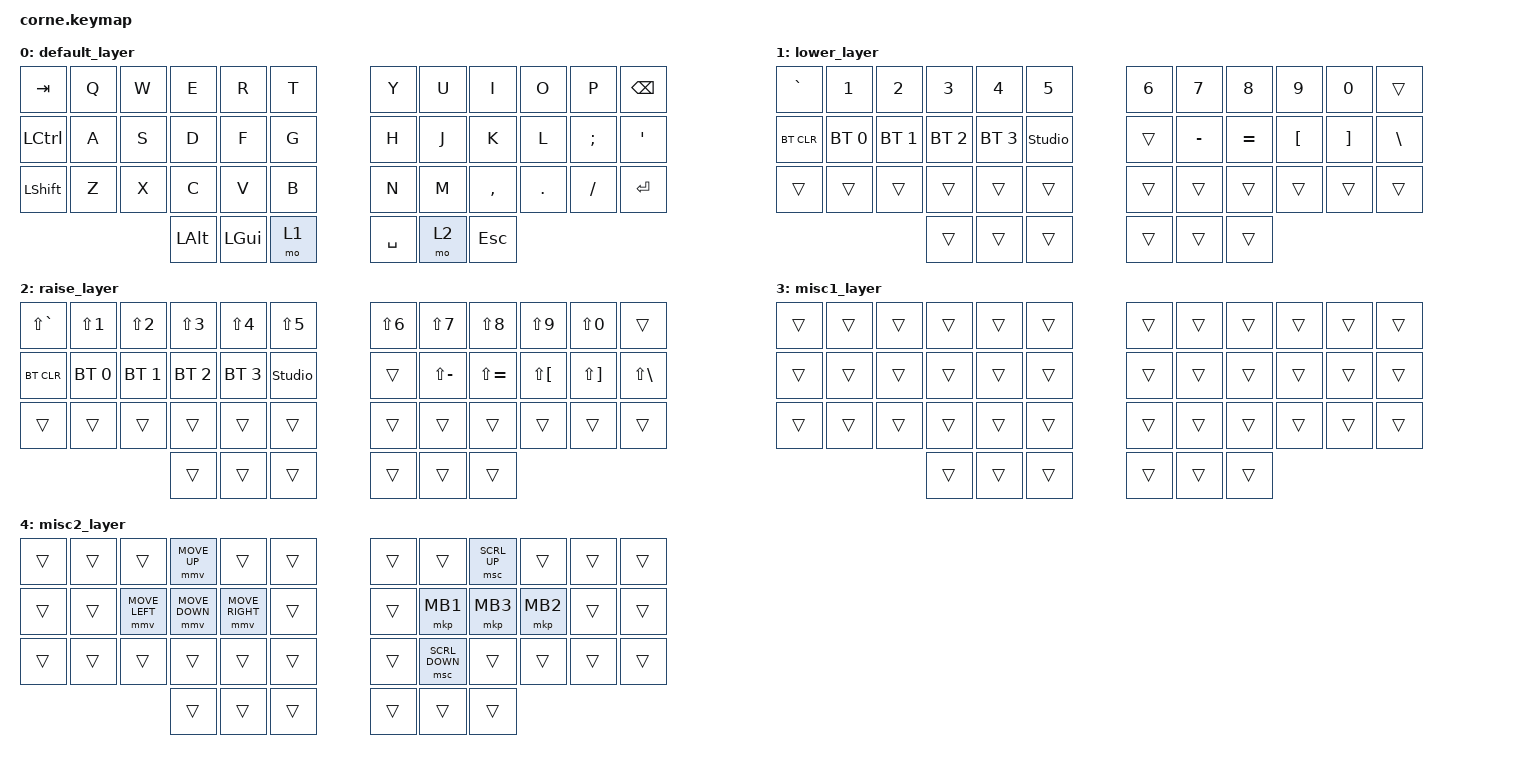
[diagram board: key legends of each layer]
/*
 * Copyright (c) 2020 The ZMK Contributors
 *
 * SPDX-License-Identifier: MIT
 */

#include <behaviors.dtsi>
#include <dt-bindings/zmk/keys.h>
#include <dt-bindings/zmk/bt.h>

#define ZMK_POINTING_DEFAULT_MOVE_VAL 1500

#include <dt-bindings/zmk/pointing.h>

/ {
        keymap {
                compatible = "zmk,keymap";

                default_layer {
// -----------------------------------------------------------------------------------------
// | TAB  |  Q  |  W  |  E  |  R  |  T  |   |  Y  |  U   |  I  |  O  |  P  | BSPC |
// | CTRL |  A  |  S  |  D  |  F  |  G  |   |  H  |  J   |  K  |  L  |  ;  |  '   |
// | SHFT |  Z  |  X  |  C  |  V  |  B  |   |  N  |  M   |  ,  |  .  |  /  | RET  |
//                    | ALT | GUI | LWR |   | SPC | RSE  | ESC |
                        bindings = <
   &kp TAB   &kp Q &kp W &kp E &kp R &kp T   &kp Y &kp U  &kp I     &kp O   &kp P    &kp BSPC
   &kp LCTRL &kp A &kp S &kp D &kp F &kp G   &kp H &kp J  &kp K     &kp L   &kp SEMI &kp SQT
   &kp LSHFT &kp Z &kp X &kp C &kp V &kp B   &kp N &kp M  &kp COMMA &kp DOT &kp FSLH &kp RET
                  &kp LALT &kp LGUI &mo 1       &kp SPACE &mo 2 &kp ESC
                        >;
                };
                lower_layer {
// -----------------------------------------------------------------------------------------
// |  `   |  1  |  2  |  3  |  4  |  5  |   |  6  |  7  |  8  |  9  |  0  |      |
// | BTCLR| BT1 | BT2 | BT3 | BT4 | BT5 |   |     |  -  |  =  |  [  |  ]  |  \   |
// |      |     |     |     |     |     |   |     |     |     |     |     |      |
//                    |     |     |     |   |     |     |     |
                        bindings = <
   &kp GRAV   &kp N1       &kp N2       &kp N3       &kp N4       &kp N5         &kp N6   &kp N7   &kp N8 &kp N9    &kp N0 &trans
   &bt BT_CLR &bt BT_SEL 0 &bt BT_SEL 1 &bt BT_SEL 2 &bt BT_SEL 3 &studio_unlock  &trans &kp MINUS &kp EQUAL &kp LBKT &kp RBKT &kp BSLH
   &trans     &trans       &trans       &trans       &trans       &trans         &trans   &trans   &trans &trans    &trans &trans
                                    &trans &trans &trans   &trans &trans &trans
                        >;
                };

                raise_layer {
// -----------------------------------------------------------------------------------------
// |  ~   |  !  |  @  |  #  |  $  |  %  |   |  ^  |  &  |  *  |  (  |  )  |      |
// |      |     |     |     |     |     |   |     |  _  |  +  |  {  |  }  |  |   |
// |      |     |     |     |     |     |   |     |     |     |     |     |      |
//                    |     |     |     |   |     |     |     |
                        bindings = <
   &kp LS(GRAV)   &kp LS(N1)       &kp LS(N2)       &kp LS(N3)       &kp LS(N4)       &kp LS(N5)         &kp LS(N6)   &kp LS(N7)   &kp LS(N8) &kp LS(N9)    &kp LS(N0) &trans
   &bt BT_CLR &bt BT_SEL 0 &bt BT_SEL 1 &bt BT_SEL 2 &bt BT_SEL 3 &studio_unlock  &trans &kp LS(MINUS) &kp LS(EQUAL) &kp LS(LBKT) &kp LS(RBKT) &kp LS(BSLH)
   &trans     &trans       &trans       &trans       &trans       &trans         &trans   &trans   &trans &trans    &trans &trans
                                    &trans &trans &trans   &trans &trans &trans
                        >;
                };

                misc1_layer {
// -----------------------------------------------------------------------------------------
// |      |     |     |     |     |     |   |     |     |     |     |     |      |
// |      |     |     |     |     |     |   |     |     |     |     |     |      |
// |      |     |     |     |     |     |   |     |     |     |     |     |      |
//                    |     |     |     |   |     |     |     |
                        bindings = <
   &trans    &trans   &trans &trans   &trans   &trans      &trans    &trans    &trans    &trans   &trans   &trans
   &trans    &trans   &trans &trans   &trans   &trans      &trans    &trans    &trans    &trans   &trans   &trans
   &trans    &trans   &trans &trans   &trans   &trans      &trans    &trans    &trans    &trans   &trans   &trans
                             &trans   &trans   &trans      &trans    &trans    &trans
                        >;
                };

                misc2_layer {
// -----------------------------------------------------------------------------------------
// |      |     |     |     |     |     |   |     |     |     |     |     |      |
// |      |     |     |     |     |     |   |     |     |     |     |     |      |
// |      |     |     |     |     |     |   |     |     |     |     |     |      |
//                    |     |     |     |   |     |     |     |
                        bindings = <
   &trans    &trans   &trans   &mmv MOVE_UP   &trans &trans                   &trans    &trans    &msc SCRL_UP    &trans   &trans   &trans
   &trans    &trans   &mmv MOVE_LEFT &mmv MOVE_DOWN &mmv MOVE_RIGHT &trans    &trans &mkp MB1  &mkp MB3  &mkp MB2 &trans   &trans
   &trans    &trans   &trans &trans   &trans   &trans                          &trans    &msc SCRL_DOWN    &trans    &trans   &trans   &trans
                             &trans   &trans   &trans                          &trans    &trans    &trans
                        >;
                };

        };
};
